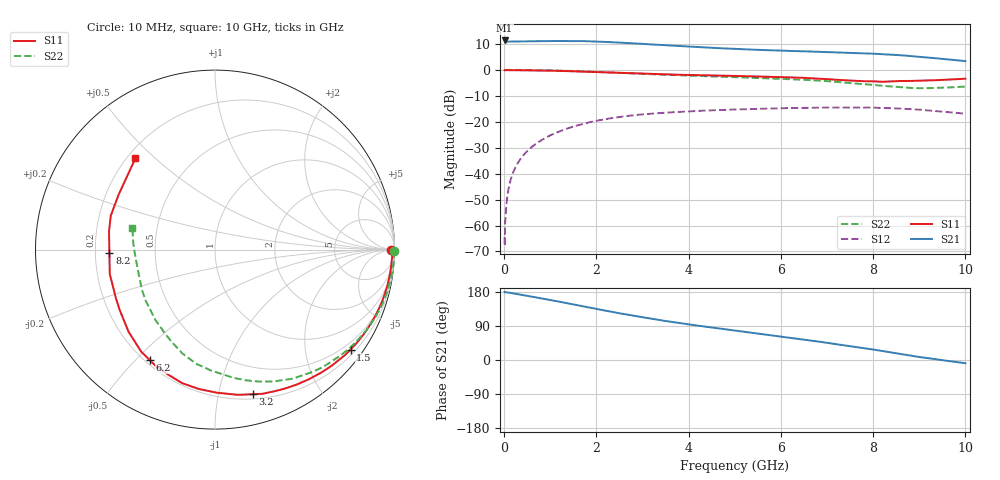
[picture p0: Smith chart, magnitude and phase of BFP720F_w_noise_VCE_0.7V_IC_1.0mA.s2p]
! Infineon Technologies  Discrete & RF Semiconductors
! BFP720F
! VCE =  0.7 V,  IC =  1.0 mA
! Common Emitter S-Parameters:  Jan 2016
# GHz  S  MA  R  50
!  f  S11  S21  S12  S22
! GHz  MAG  ANG  MAG  ANG  MAG  ANG  MAG  ANG
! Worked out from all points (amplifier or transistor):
!   233 points, 10 MHz to 10 GHz, reference 50 ohm
!   highest |S21| = 11.3 dB at 10 MHz (marker M1)
!   |S21| within 3 dB of that: start of sweep to 4.69 GHz
!   unconditionally stable (mu >= 1): nowhere
!   at 200 MHz: K = 0.01, MSG = 25.1 dB, |S12| = -39.3 dB
!   at 1.74 GHz: K = 0.13, MSG = 15.9 dB, |S12| = -20.7 dB
!   at 10 GHz: K = 0.80, MSG = 10.1 dB, |S12| = -16.9 dB
!   lowest NFmin = 0.46 dB at 450 MHz
!   S11 on the Smith chart (normalised r, x): 10 MHz: open; 1.5 GHz: 0.32, -3.01; 3.2 GHz: 0.24, -1.27; 6.2 GHz: 0.22, -0.55; 8.2 GHz: 0.26, -0.01; 10 GHz: 0.23, +0.43
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0.01  0.981 -0.2  3.686 179.8  0.0006 -49.3  0.999 -0.5
0.015  0.985 -0.3  3.587 179.1  0.0004 58.0  0.9995 -0.8
0.02  0.9891 -0.4  3.488 178.3  0.0011 89.4  1 -1.0
0.03  0.9885 -0.7  3.49 178.5  0.0016 87.0  0.9994 -1.0
0.065  0.9877 -1.6  3.497 178.5  0.0034 86.8  0.9983 -1.3
0.1  0.9882 -2.3  3.505 177.8  0.0054 88.9  0.9988 -1.9
0.19  0.9861 -4.4  3.517 175.9  0.0103 86.8  0.9975 -3.7
0.3  0.9848 -7.0  3.525 173.6  0.0162 84.7  0.9947 -5.9
0.74  0.9742 -17.4  3.568 164.1  0.0404 76.3  0.9866 -14.6
1.5  0.9384 -36.4  3.578 146.8  0.0808 60.6  0.9481 -30.3
1.68  0.9265 -41.1  3.587 142.3  0.0897 56.7  0.9357 -34.1
2.4  0.8796 -58.6  3.388 125.6  0.1204 41.5  0.883 -48.7
3.2  0.8328 -75.3  3.088 109.0  0.1429 26.7  0.8241 -61.6
3.4  0.8229 -79.1  3.021 105.0  0.1475 23.2  0.8107 -64.5
4  0.7973 -89.3  2.813 94.0  0.1591 13.9  0.7756 -71.5
5.1  0.7609 -105.1  2.515 76.3  0.1732 -1.5  0.7166 -82.7
6.2  0.7151 -120.5  2.312 58.8  0.1831 -16.1  0.6604 -94.9
6.8  0.6763 -132.1  2.231 48.8  0.1867 -24.4  0.6206 -104.0
8.2  0.5887 -178.3  2.001 23.8  0.1844 -45.8  0.493 -136.8
8.4  0.599 170.3  1.963 19.8  0.1824 -49.2  0.4787 -144.1
9  0.6177 150.6  1.792 7.9  0.1708 -59.5  0.4435 -168.0
10  0.6748 131.1  1.475 -8.5  0.1431 -72.9  0.4764 165.4
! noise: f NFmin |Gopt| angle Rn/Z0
0.45  0.46  0.82  5  0.47
0.9  0.6  0.8  13  0.49
1.8  0.65  0.78  26  0.36
2.4  0.69  0.8  31  0.37
5.5  1.15  0.59  94  0.23
10  1.7  0.42  -145  0.16
